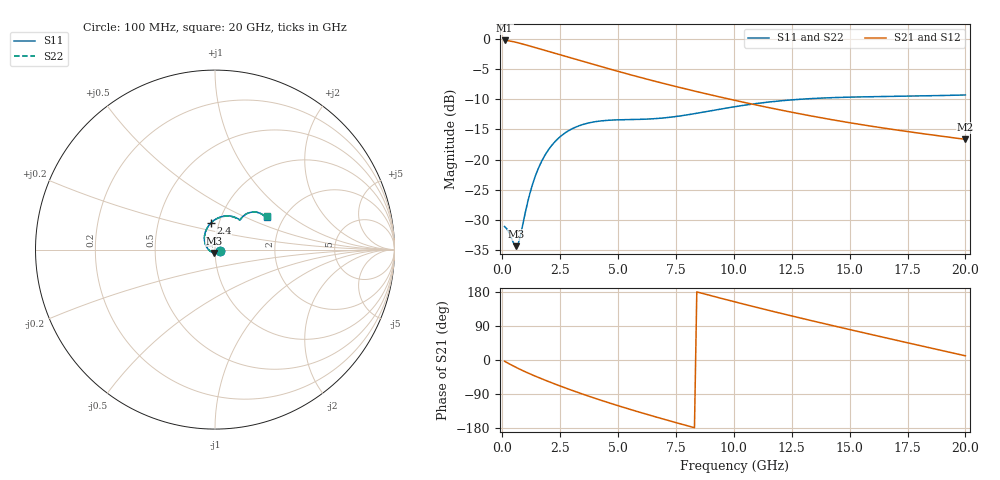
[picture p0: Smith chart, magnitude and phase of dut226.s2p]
! Touchstone file exported from HFSS 2023.1.0
!  File:  D:/Users/fzz/RDL_TSV/temp_RDL_TSV_226_1778758095.aedt
!  Generated:  7:38:51 %x4E0B%x5348  5%x6708 14, 2026
!  Design:  RDL_TSV
!  Project:  temp_RDL_TSV_226_1778758095
!  Setup:  Setup1
!  Solution:  Sweep
! Variables:
!  dtsv = 23.14um
!  hbump = 3um
!  htsv = 92.41um
!  ldown = 696.86um
!  lrdl = 554.92um
!  p = 40
!  p1 = 57.24um
!  rhole = 10um
!  subl = 4310.26um
!  t = 450um
!  tdown = 2.92um
!  trdl = 4.1um
!  viad = 10um
!  wdown = 13.71um
!  wrdl = 18.08um
!  xbump = 18um
# GHz S MA R 50.000000
! Terminal data exported
! Port[1] = TM1_1_T1
! Port[2] = TM1_4_T1
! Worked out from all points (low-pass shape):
!   200 points, 100 MHz to 20 GHz, reference 50 ohm
!   highest |S21| = -0.26 dB at 100 MHz (marker M1); lowest = -16.7 dB at 20 GHz (marker M2)
!   |S21| within 3 dB of the highest: start of sweep to 3.07 GHz
!   lowest |S11| = -34.4 dB at 600 MHz (marker M3), VSWR 1.04, Z = 49.7 - j1.88 ohm
!   |S11| at or under -10 dB: start of sweep to 12.9 GHz
!   |S22| runs from -34.4 to -9.3 dB; largest |S21 - S12| = 7e-15
!   S11 on the Smith chart (normalised r, x): 100 MHz: 1.06, -0.01; 2.4 GHz: 0.91, +0.27; 20 GHz: 1.64, +0.68
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0.1  0.02786 -11.6  0.9705 -3.4  0.9705 -3.4  0.02786 -11.6
! Gamma 0 0 0 0
! Port Impedance 50 0 50 0
0.3  0.02453 -37.6  0.9618 -10.1  0.9618 -10.1  0.02454 -37.6
0.5  0.02004 -74.2  0.9462 -16.6  0.9462 -16.6  0.02006 -74.1
0.6  0.01913 -98.9  0.9367 -19.7  0.9367 -19.7  0.01914 -98.7
0.7  0.0204 -125.2  0.9264 -22.7  0.9264 -22.7  0.02039 -125.0
1.2  0.05307 158.5  0.8713 -36.8  0.8713 -36.8  0.05287 158.6
1.5  0.07936 137.6  0.8389 -44.6  0.8389 -44.6  0.07904 137.6
1.9  0.1131 117.8  0.7976 -54.5  0.7976 -54.5  0.1126 117.8
2.4  0.1486 99.5  0.7486 -66.4  0.7486 -66.4  0.1479 99.5
2.9  0.175 85.6  0.7022 -77.7  0.7022 -77.7  0.1742 85.6
3.5  0.1957 73.1  0.6501 -90.6  0.6501 -90.6  0.1947 73.0
4.3  0.2093 61.4  0.5871 -107.0  0.5871 -107.0  0.208 61.4
5.1  0.2136 54.4  0.5315 -122.5  0.5315 -122.5  0.2121 54.4
5.9  0.2151 50.9  0.4828 -137.3  0.4828 -137.3  0.2136 51.0
6.8  0.2197 49.8  0.4352 -153.2  0.4352 -153.2  0.2181 50.0
8.5  0.2436 49.8  0.3618 178.1  0.3618 178.1  0.2423 50.0
10.1  0.2753 47.7  0.3077 152.5  0.3077 152.5  0.2741 47.9
11.7  0.3023 43.8  0.2647 128.1  0.2647 128.1  0.3013 44.1
13.4  0.3205 39.6  0.2286 103.1  0.2286 103.1  0.3196 39.8
16.7  0.3334 34.2  0.1795 56.6  0.1795 56.6  0.3328 34.5
18.3  0.3373 33.1  0.1624 34.4  0.1624 34.4  0.3368 33.4
20  0.3428 32.5  0.147 11.0  0.147 11.0  0.3426 32.8
